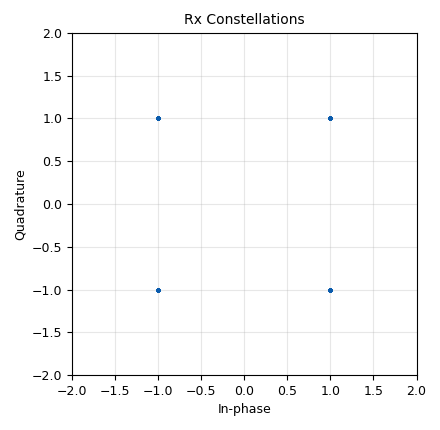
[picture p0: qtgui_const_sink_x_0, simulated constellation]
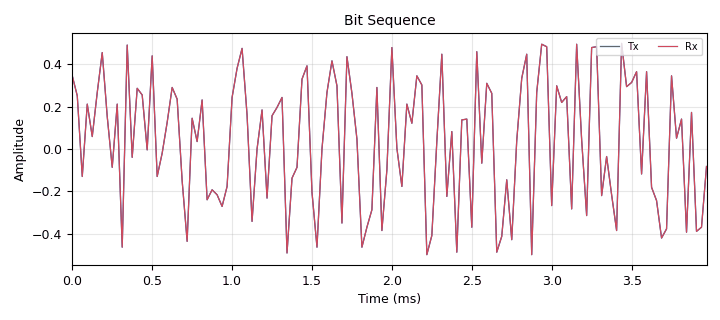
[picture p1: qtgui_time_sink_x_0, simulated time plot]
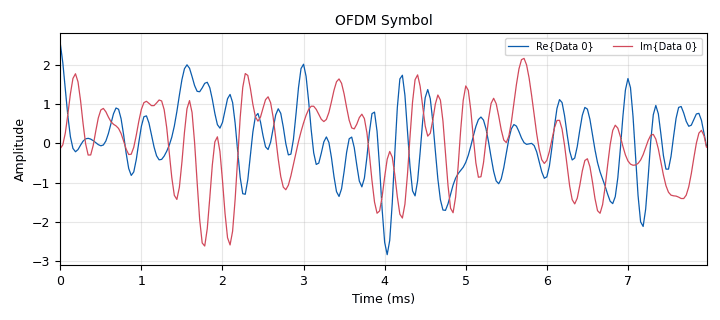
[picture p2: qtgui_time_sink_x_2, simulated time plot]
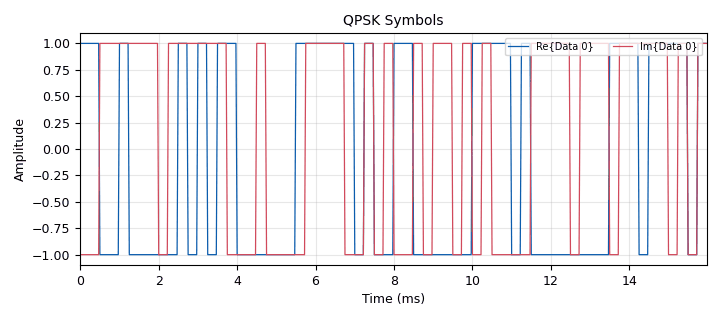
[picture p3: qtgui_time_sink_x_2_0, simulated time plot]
<?xml version='1.0' encoding='utf-8'?>
<?grc format='1' created='3.7.13'?>
<flow_graph>
<block>
<key>options</key>
<param><key>id</key><value>fft_test</value></param>
<param><key>generate_options</key><value>qt_gui</value></param>
</block>
<block>
<key>variable</key>
<param><key>id</key><value>N</value></param>
<param><key>value</key><value>64</value></param>
</block>
<block>
<key>variable_constellation</key>
<param><key>id</key><value>constellation</value></param>
<param><key>const_points</key><value>[-1-1j, -1+1j, 1+1j, 1-1j]</value></param>
<param><key>type</key><value>calcdist</value></param>
<param><key>dims</key><value>1</value></param>
<param><key>rot_sym</key><value>4</value></param>
<param><key>precision</key><value>8</value></param>
<param><key>sym_map</key><value>[0, 1, 2, 3]</value></param>
</block>
<block>
<key>variable_qtgui_range</key>
<param><key>id</key><value>noise</value></param>
<param><key>value</key><value>0</value></param>
<param><key>orient</key><value>Qt.Horizontal</value></param>
<param><key>start</key><value>0</value></param>
<param><key>step</key><value>0.01</value></param>
<param><key>stop</key><value>1</value></param>
</block>
<block>
<key>variable</key>
<param><key>id</key><value>symbol_rate</value></param>
<param><key>value</key><value>32000</value></param>
</block>
<block>
<key>analog_random_source_x</key>
<param><key>id</key><value>analog_random_source_x_0</value></param>
<param><key>max</key><value>256</value></param>
<param><key>min</key><value>0</value></param>
<param><key>num_samps</key><value>10000</value></param>
<param><key>type</key><value>byte</value></param>
<param><key>repeat</key><value>True</value></param>
</block>
<block>
<key>blks2_error_rate</key>
<param><key>id</key><value>blks2_error_rate_0</value></param>
<param><key>bits_per_symbol</key><value>8</value></param>
<param><key>type</key><value>'BER'</value></param>
<param><key>win_size</key><value>1000</value></param>
</block>
<block>
<key>blocks_char_to_float</key>
<param><key>id</key><value>blocks_char_to_float_0</value></param>
<param><key>scale</key><value>255</value></param>
</block>
<block>
<key>blocks_char_to_float</key>
<param><key>id</key><value>blocks_char_to_float_1</value></param>
<param><key>scale</key><value>255</value></param>
</block>
<block>
<key>blocks_delay</key>
<param><key>id</key><value>blocks_delay_0</value></param>
<param><key>delay</key><value>0</value></param>
<param><key>type</key><value>byte</value></param>
</block>
<block>
<key>blocks_nlog10_ff</key>
<param><key>id</key><value>blocks_nlog10_ff_0</value></param>
<param><key>k</key><value>0</value></param>
</block>
<block>
<key>blocks_packed_to_unpacked_xx</key>
<param><key>id</key><value>blocks_packed_to_unpacked_xx_0</value></param>
<param><key>bits_per_chunk</key><value>2</value></param>
<param><key>endianness</key><value>gr.GR_MSB_FIRST</value></param>
<param><key>type</key><value>byte</value></param>
</block>
<block>
<key>blocks_repeat</key>
<param><key>id</key><value>blocks_repeat_0</value></param>
<param><key>interp</key><value>8</value></param>
<param><key>type</key><value>complex</value></param>
</block>
<block>
<key>blocks_stream_to_vector</key>
<param><key>id</key><value>blocks_stream_to_vector_1</value></param>
<param><key>type</key><value>complex</value></param>
<param><key>num_items</key><value>N</value></param>
</block>
<block>
<key>blocks_stream_to_vector</key>
<param><key>id</key><value>blocks_stream_to_vector_2</value></param>
<param><key>type</key><value>complex</value></param>
<param><key>num_items</key><value>64</value></param>
</block>
<block>
<key>blocks_throttle</key>
<param><key>id</key><value>blocks_throttle_1</value></param>
<param><key>samples_per_second</key><value>symbol_rate/4</value></param>
<param><key>type</key><value>byte</value></param>
</block>
<block>
<key>blocks_unpacked_to_packed_xx</key>
<param><key>id</key><value>blocks_unpacked_to_packed_xx_0</value></param>
<param><key>bits_per_chunk</key><value>2</value></param>
<param><key>endianness</key><value>gr.GR_MSB_FIRST</value></param>
<param><key>type</key><value>byte</value></param>
</block>
<block>
<key>blocks_vector_to_stream</key>
<param><key>id</key><value>blocks_vector_to_stream_1</value></param>
<param><key>type</key><value>complex</value></param>
<param><key>num_items</key><value>N</value></param>
</block>
<block>
<key>blocks_vector_to_stream</key>
<param><key>id</key><value>blocks_vector_to_stream_2</value></param>
<param><key>type</key><value>complex</value></param>
<param><key>num_items</key><value>N</value></param>
</block>
<block>
<key>channels_channel_model</key>
<param><key>id</key><value>channels_channel_model_0</value></param>
<param><key>epsilon</key><value>1</value></param>
<param><key>freq_offset</key><value>0.0</value></param>
<param><key>noise_voltage</key><value>noise</value></param>
<param><key>seed</key><value>0</value></param>
<param><key>taps</key><value>[0, 0, 0, 1]</value></param>
</block>
<block>
<key>digital_chunks_to_symbols_xx</key>
<param><key>id</key><value>digital_chunks_to_symbols_xx_0</value></param>
<param><key>dimension</key><value>1</value></param>
<param><key>in_type</key><value>byte</value></param>
<param><key>out_type</key><value>complex</value></param>
<param><key>symbol_table</key><value>[-1-1j, -1+1j, 1+1j, 1-1j]</value></param>
</block>
<block>
<key>digital_constellation_decoder_cb</key>
<param><key>id</key><value>digital_constellation_decoder_cb_0</value></param>
<param><key>constellation</key><value>constellation</value></param>
</block>
<block>
<key>fft_vxx</key>
<param><key>id</key><value>fft_vxx_0</value></param>
<param><key>fft_size</key><value>N</value></param>
<param><key>forward</key><value>False</value></param>
<param><key>type</key><value>complex</value></param>
<param><key>shift</key><value>True</value></param>
<param><key>window</key><value>N*[1.0/math.sqrt(N)]</value></param>
</block>
<block>
<key>fft_vxx</key>
<param><key>id</key><value>fft_vxx_0_0</value></param>
<param><key>fft_size</key><value>N</value></param>
<param><key>forward</key><value>True</value></param>
<param><key>type</key><value>complex</value></param>
<param><key>shift</key><value>True</value></param>
<param><key>window</key><value>N*[1.0/math.sqrt(N)]</value></param>
</block>
<block>
<key>import</key>
<param><key>id</key><value>import_0</value></param>
<param><key>import</key><value>import math</value></param>
</block>
<block>
<key>qtgui_const_sink_x</key>
<param><key>id</key><value>qtgui_const_sink_x_0</value></param>
<param><key>name</key><value>"Rx Constellations"</value></param>
<param><key>size</key><value>1024</value></param>
<param><key>type</key><value>complex</value></param>
</block>
<block>
<key>qtgui_time_sink_x</key>
<param><key>id</key><value>qtgui_time_sink_x_0</value></param>
<param><key>autoscale</key><value>True</value></param>
<param><key>color1</key><value>"blue"</value></param>
<param><key>label1</key><value>Tx</value></param>
<param><key>color2</key><value>"red"</value></param>
<param><key>label2</key><value>Rx</value></param>
<param><key>name</key><value>"Bit Sequence"</value></param>
<param><key>nconnections</key><value>2</value></param>
<param><key>size</key><value>128</value></param>
<param><key>srate</key><value>symbol_rate</value></param>
<param><key>type</key><value>float</value></param>
</block>
<block>
<key>qtgui_time_sink_x</key>
<param><key>id</key><value>qtgui_time_sink_x_1</value></param>
<param><key>autoscale</key><value>True</value></param>
<param><key>color1</key><value>"blue"</value></param>
<param><key>label1</key><value></value></param>
<param><key>name</key><value>"log10(BER)"</value></param>
<param><key>size</key><value>1024</value></param>
<param><key>srate</key><value>symbol_rate</value></param>
<param><key>type</key><value>float</value></param>
</block>
<block>
<key>qtgui_time_sink_x</key>
<param><key>id</key><value>qtgui_time_sink_x_2</value></param>
<param><key>autoscale</key><value>True</value></param>
<param><key>color1</key><value>"blue"</value></param>
<param><key>label1</key><value></value></param>
<param><key>color2</key><value>"red"</value></param>
<param><key>label2</key><value></value></param>
<param><key>name</key><value>"OFDM Symbol"</value></param>
<param><key>size</key><value>N*4</value></param>
<param><key>srate</key><value>symbol_rate</value></param>
<param><key>type</key><value>complex</value></param>
</block>
<block>
<key>qtgui_time_sink_x</key>
<param><key>id</key><value>qtgui_time_sink_x_2_0</value></param>
<param><key>autoscale</key><value>True</value></param>
<param><key>color1</key><value>"blue"</value></param>
<param><key>label1</key><value></value></param>
<param><key>color2</key><value>"red"</value></param>
<param><key>label2</key><value></value></param>
<param><key>name</key><value>"QPSK Symbols"</value></param>
<param><key>size</key><value>N*8</value></param>
<param><key>srate</key><value>symbol_rate</value></param>
<param><key>type</key><value>complex</value></param>
</block>
<block>
<key>rational_resampler_xxx</key>
<param><key>id</key><value>rational_resampler_xxx_0</value></param>
<param><key>decim</key><value>1</value></param>
<param><key>interp</key><value>4</value></param>
<param><key>taps</key><value></value></param>
<param><key>type</key><value>ccc</value></param>
</block>
<block>
<key>virtual_sink</key>
<param><key>id</key><value>virtual_sink0</value></param>
<param><key>stream_id</key><value>serial_tx</value></param>
</block>
<block>
<key>virtual_sink</key>
<param><key>id</key><value>virtual_sink0_0</value></param>
<param><key>stream_id</key><value>serial_rx</value></param>
</block>
<block>
<key>virtual_sink</key>
<param><key>id</key><value>virtual_sink0_1</value></param>
<param><key>stream_id</key><value>input_bytes</value></param>
</block>
<block>
<key>virtual_sink</key>
<param><key>id</key><value>virtual_sink_0</value></param>
<param><key>stream_id</key><value>parallel_rx</value></param>
</block>
<block>
<key>virtual_source</key>
<param><key>id</key><value>virtual_source_0</value></param>
<param><key>stream_id</key><value>serial_tx</value></param>
</block>
<block>
<key>virtual_source</key>
<param><key>id</key><value>virtual_source_1</value></param>
<param><key>stream_id</key><value>serial_rx</value></param>
</block>
<block>
<key>virtual_source</key>
<param><key>id</key><value>virtual_source_1_0</value></param>
<param><key>stream_id</key><value>serial_rx</value></param>
</block>
<block>
<key>virtual_source</key>
<param><key>id</key><value>virtual_source_2</value></param>
<param><key>stream_id</key><value>input_bytes</value></param>
</block>
<block>
<key>virtual_source</key>
<param><key>id</key><value>virtual_source_3</value></param>
<param><key>stream_id</key><value>parallel_rx</value></param>
</block>
<block>
<key>virtual_source</key>
<param><key>id</key><value>virtual_source_4</value></param>
<param><key>stream_id</key><value>parallel_rx</value></param>
</block>
<block>
<key>virtual_source</key>
<param><key>id</key><value>virtual_source_5</value></param>
<param><key>stream_id</key><value>serial_tx</value></param>
</block>
<connection><source_block_id>analog_random_source_x_0</source_block_id><sink_block_id>blocks_throttle_1</sink_block_id><source_key>0</source_key><sink_key>0</sink_key></connection>
<connection><source_block_id>analog_random_source_x_0</source_block_id><sink_block_id>virtual_sink0_1</sink_block_id><source_key>0</source_key><sink_key>0</sink_key></connection>
<connection><source_block_id>blks2_error_rate_0</source_block_id><sink_block_id>blocks_nlog10_ff_0</sink_block_id><source_key>0</source_key><sink_key>0</sink_key></connection>
<connection><source_block_id>blocks_char_to_float_0</source_block_id><sink_block_id>qtgui_time_sink_x_0</sink_block_id><source_key>0</source_key><sink_key>0</sink_key></connection>
<connection><source_block_id>blocks_char_to_float_1</source_block_id><sink_block_id>qtgui_time_sink_x_0</sink_block_id><source_key>0</source_key><sink_key>1</sink_key></connection>
<connection><source_block_id>blocks_delay_0</source_block_id><sink_block_id>blks2_error_rate_0</sink_block_id><source_key>0</source_key><sink_key>0</sink_key></connection>
<connection><source_block_id>blocks_delay_0</source_block_id><sink_block_id>blocks_char_to_float_0</sink_block_id><source_key>0</source_key><sink_key>0</sink_key></connection>
<connection><source_block_id>blocks_nlog10_ff_0</source_block_id><sink_block_id>qtgui_time_sink_x_1</sink_block_id><source_key>0</source_key><sink_key>0</sink_key></connection>
<connection><source_block_id>blocks_packed_to_unpacked_xx_0</source_block_id><sink_block_id>digital_chunks_to_symbols_xx_0</sink_block_id><source_key>0</source_key><sink_key>0</sink_key></connection>
<connection><source_block_id>blocks_repeat_0</source_block_id><sink_block_id>qtgui_time_sink_x_2_0</sink_block_id><source_key>0</source_key><sink_key>0</sink_key></connection>
<connection><source_block_id>blocks_stream_to_vector_1</source_block_id><sink_block_id>fft_vxx_0</sink_block_id><source_key>0</source_key><sink_key>0</sink_key></connection>
<connection><source_block_id>blocks_stream_to_vector_2</source_block_id><sink_block_id>fft_vxx_0_0</sink_block_id><source_key>0</source_key><sink_key>0</sink_key></connection>
<connection><source_block_id>blocks_throttle_1</source_block_id><sink_block_id>blocks_packed_to_unpacked_xx_0</sink_block_id><source_key>0</source_key><sink_key>0</sink_key></connection>
<connection><source_block_id>blocks_unpacked_to_packed_xx_0</source_block_id><sink_block_id>blks2_error_rate_0</sink_block_id><source_key>0</source_key><sink_key>1</sink_key></connection>
<connection><source_block_id>blocks_unpacked_to_packed_xx_0</source_block_id><sink_block_id>blocks_char_to_float_1</sink_block_id><source_key>0</source_key><sink_key>0</sink_key></connection>
<connection><source_block_id>blocks_vector_to_stream_1</source_block_id><sink_block_id>virtual_sink0_0</sink_block_id><source_key>0</source_key><sink_key>0</sink_key></connection>
<connection><source_block_id>blocks_vector_to_stream_2</source_block_id><sink_block_id>channels_channel_model_0</sink_block_id><source_key>0</source_key><sink_key>0</sink_key></connection>
<connection><source_block_id>channels_channel_model_0</source_block_id><sink_block_id>virtual_sink_0</sink_block_id><source_key>0</source_key><sink_key>0</sink_key></connection>
<connection><source_block_id>digital_chunks_to_symbols_xx_0</source_block_id><sink_block_id>virtual_sink0</sink_block_id><source_key>0</source_key><sink_key>0</sink_key></connection>
<connection><source_block_id>digital_constellation_decoder_cb_0</source_block_id><sink_block_id>blocks_unpacked_to_packed_xx_0</sink_block_id><source_key>0</source_key><sink_key>0</sink_key></connection>
<connection><source_block_id>fft_vxx_0</source_block_id><sink_block_id>blocks_vector_to_stream_2</sink_block_id><source_key>0</source_key><sink_key>0</sink_key></connection>
<connection><source_block_id>fft_vxx_0_0</source_block_id><sink_block_id>blocks_vector_to_stream_1</sink_block_id><source_key>0</source_key><sink_key>0</sink_key></connection>
<connection><source_block_id>rational_resampler_xxx_0</source_block_id><sink_block_id>qtgui_time_sink_x_2</sink_block_id><source_key>0</source_key><sink_key>0</sink_key></connection>
<connection><source_block_id>virtual_source_0</source_block_id><sink_block_id>blocks_stream_to_vector_1</sink_block_id><source_key>0</source_key><sink_key>0</sink_key></connection>
<connection><source_block_id>virtual_source_1</source_block_id><sink_block_id>digital_constellation_decoder_cb_0</sink_block_id><source_key>0</source_key><sink_key>0</sink_key></connection>
<connection><source_block_id>virtual_source_1_0</source_block_id><sink_block_id>qtgui_const_sink_x_0</sink_block_id><source_key>0</source_key><sink_key>0</sink_key></connection>
<connection><source_block_id>virtual_source_2</source_block_id><sink_block_id>blocks_delay_0</sink_block_id><source_key>0</source_key><sink_key>0</sink_key></connection>
<connection><source_block_id>virtual_source_3</source_block_id><sink_block_id>blocks_stream_to_vector_2</sink_block_id><source_key>0</source_key><sink_key>0</sink_key></connection>
<connection><source_block_id>virtual_source_4</source_block_id><sink_block_id>rational_resampler_xxx_0</sink_block_id><source_key>0</source_key><sink_key>0</sink_key></connection>
<connection><source_block_id>virtual_source_5</source_block_id><sink_block_id>blocks_repeat_0</sink_block_id><source_key>0</source_key><sink_key>0</sink_key></connection>
</flow_graph>
